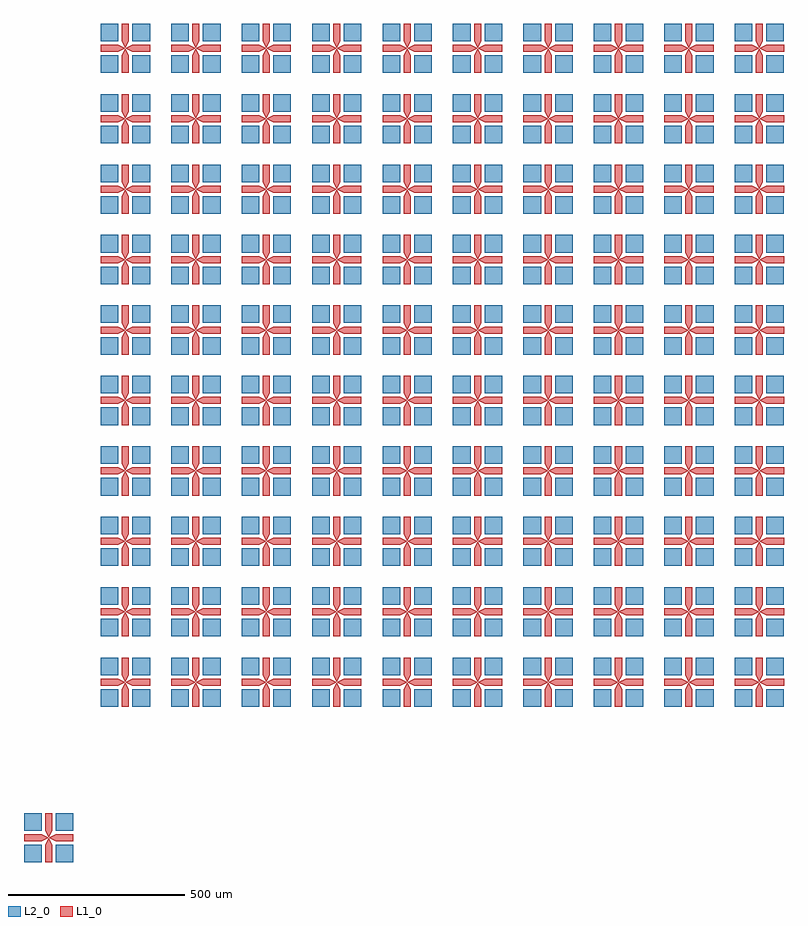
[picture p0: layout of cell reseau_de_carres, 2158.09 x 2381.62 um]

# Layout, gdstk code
import gdstk
lib = gdstk.Library(unit=1e-6, precision=1e-09)
def R(c, l, rs):  # rectangles x0, y0, x1, y1
    for r in rs: c.add(gdstk.rectangle(r[:2], r[2:], *l))
def P(c, l, *ps):  # polygons
    for p in ps: c.add(gdstk.Polygon(p, *l))
L1_0 = (1, 0)
L2_0 = (2, 0)

carre = lib.new_cell('carre')
P(carre, L1_0, [(-72.478,-344.499),(-72.478,-294.497),(-72.476,-294.497),(-62.477,-274.498),(-52.477,-294.497),(-52.476,-294.497),(-52.476,-344.499)],
  [(-132.478,-284.499),(-132.478,-264.497),(-82.476,-264.497),(-82.476,-264.499),(-62.477,-274.498),(-82.476,-284.498),(-82.476,-284.499)],
  [(-62.477,-274.498),(-72.477,-254.499),(-72.478,-254.499),(-72.478,-204.497),(-52.476,-204.497),(-52.476,-254.499),(-52.478,-254.499)],
  [(-42.478,-284.499),(-42.478,-284.497),(-62.477,-274.498),(-42.478,-264.498),(-42.478,-264.497),(7.524,-264.497),(7.524,-284.499)])
R(carre, L2_0, [(-132.477,-344.498,-82.477,-294.498), (-42.477,-344.498,7.523,-294.498), (-132.477,-254.498,-82.477,-204.498), (-42.477,-254.498,7.523,-204.498)])

reseau_de_carres = lib.new_cell('reseau_de_carres')
P(reseau_de_carres, L1_0, [(-555.411,-1738.785),(-555.411,-1688.783),(-555.409,-1688.783),(-545.41,-1668.784),(-535.41,-1688.783),(-535.409,-1688.783),(-535.409,-1738.785)],
  [(-615.411,-1678.785),(-615.411,-1658.783),(-565.409,-1658.783),(-565.409,-1658.785),(-545.41,-1668.784),(-565.409,-1678.784),(-565.409,-1678.785)],
  [(-545.41,-1668.784),(-555.41,-1648.785),(-555.411,-1648.785),(-555.411,-1598.783),(-535.409,-1598.783),(-535.409,-1648.785),(-535.411,-1648.785)],
  [(-525.411,-1678.785),(-525.411,-1678.783),(-545.41,-1668.784),(-525.411,-1658.784),(-525.411,-1658.783),(-475.409,-1658.783),(-475.409,-1678.785)])
R(reseau_de_carres, L2_0, [(-615.41,-1738.784,-565.41,-1688.784), (-525.41,-1738.784,-475.41,-1688.784), (-615.41,-1648.784,-565.41,-1598.784), (-525.41,-1648.784,-475.41,-1598.784)])
r = gdstk.Reference(carre, (-264.85,-952.669)); r.repetition = gdstk.Repetition(10, 10, v1=(200,0), v2=(0,200)); reseau_de_carres.add(r)

lib.write_gds('reseau_de_carres.gds')
